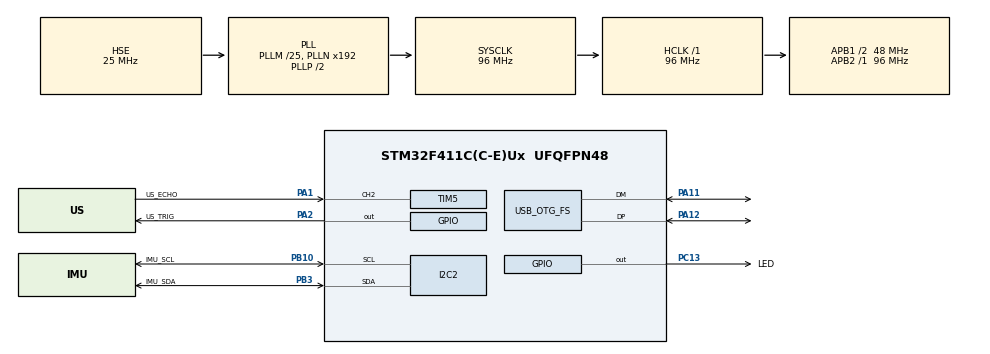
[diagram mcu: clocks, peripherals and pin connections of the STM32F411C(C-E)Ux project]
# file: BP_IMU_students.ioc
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Dma.Request0=TIM5_CH2
Dma.TIM5_CH2.0.Direction=DMA_PERIPH_TO_MEMORY
Dma.TIM5_CH2.0.FIFOMode=DMA_FIFOMODE_DISABLE
Dma.TIM5_CH2.0.Instance=DMA1_Stream4
Dma.TIM5_CH2.0.MemDataAlignment=DMA_MDATAALIGN_WORD
Dma.TIM5_CH2.0.MemInc=DMA_MINC_ENABLE
Dma.TIM5_CH2.0.Mode=DMA_NORMAL
Dma.TIM5_CH2.0.PeriphDataAlignment=DMA_PDATAALIGN_WORD
Dma.TIM5_CH2.0.PeriphInc=DMA_PINC_DISABLE
Dma.TIM5_CH2.0.Priority=DMA_PRIORITY_LOW
I2C2.I2C_Mode=I2C_Fast
Mcu.Family=STM32F4
Mcu.Name=STM32F411C(C-E)Ux
Mcu.Package=UFQFPN48
Mcu.UserConstants=PSC_5,96-1;ARR_1,500-1;PSC_11,96-1;PSC_4,1-1;ARR_11,1000-1;ARR_4,9600-1;PSC_1,96-1;PSC_2,96-1
NVIC.DMA1_Stream4_IRQn=true\:0\:0\:false\:false\:true\:false\:true\:true
NVIC.OTG_FS_IRQn=true\:0\:0\:false\:false\:true\:false\:true\:true
NVIC.PriorityGroup=NVIC_PRIORITYGROUP_4
NVIC.TIM1_TRG_COM_TIM11_IRQn=true\:0\:0\:false\:false\:true\:true\:true\:true
NVIC.TIM1_UP_TIM10_IRQn=true\:0\:0\:false\:false\:true\:true\:true\:true
NVIC.TIM5_IRQn=true\:0\:0\:false\:false\:true\:true\:true\:true
PA1.GPIO_Label=US_ECHO
PA1.Signal=S_TIM5_CH2
PA11.Mode=Device_Only
PA11.Signal=USB_OTG_FS_DM
PA12.Mode=Device_Only
PA12.Signal=USB_OTG_FS_DP
PA2.GPIO_Label=US_TRIG
PA2.Signal=GPIO_Output
PB10.GPIO_Label=IMU_SCL
PB10.Mode=I2C
PB10.Signal=I2C2_SCL
PB3.GPIO_Label=IMU_SDA
PB3.Mode=I2C
PB3.Signal=I2C2_SDA
PC13-ANTI_TAMP.GPIO_Label=LED
PC13-ANTI_TAMP.PinState=GPIO_PIN_SET
PC13-ANTI_TAMP.Signal=GPIO_Output
PH0\ -\ OSC_IN.Mode=HSE-External-Oscillator
PH0\ -\ OSC_IN.Signal=RCC_OSC_IN
PH1\ -\ OSC_OUT.Mode=HSE-External-Oscillator
PH1\ -\ OSC_OUT.Signal=RCC_OSC_OUT
ProjectManager.HeapSize=0x200
ProjectManager.StackSize=0x400
ProjectManager.TargetToolchain=STM32CubeIDE
RCC.48MHZClocksFreq_Value=48000000
RCC.AHBFreq_Value=96000000
RCC.APB1CLKDivider=RCC_HCLK_DIV2
RCC.APB1Freq_Value=48000000
RCC.APB1TimFreq_Value=96000000
RCC.APB2Freq_Value=96000000
RCC.APB2TimFreq_Value=96000000
RCC.CortexFreq_Value=96000000
RCC.HCLKFreq_Value=96000000
RCC.HSE_VALUE=25000000
RCC.HSI_VALUE=16000000
RCC.LSE_VALUE=32768
RCC.PLLM=25
RCC.SYSCLKFreq_VALUE=96000000
RCC.SYSCLKSource=RCC_SYSCLKSOURCE_PLLCLK
RCC.VCOOutputFreq_Value=192000000
SH.S_TIM5_CH2.0=TIM5_CH2,Input_Capture2_from_TI2
TIM1.Period=ARR_1
TIM1.Prescaler=PSC_1
TIM11.Period=ARR_11
TIM11.Prescaler=PSC_11
TIM2.Prescaler=PSC_2
TIM5.Channel-Input_Capture2_from_TI2=TIM_CHANNEL_2
TIM5.ICPolarity_CH2=TIM_INPUTCHANNELPOLARITY_BOTHEDGE
TIM5.Prescaler=PSC_5
USB_DEVICE.CLASS_NAME_FS=CDC
USB_DEVICE.VirtualMode=Cdc
USB_DEVICE.VirtualModeFS=Cdc_FS
USB_OTG_FS.VirtualMode=Device_Only
VP_TIM11_VS_ClockSourceINT.Mode=Enable_Timer
VP_TIM1_VS_ClockSourceINT.Mode=Internal
VP_TIM2_VS_ClockSourceINT.Mode=Internal
VP_TIM5_VS_ClockSourceINT.Mode=Internal
VP_USB_DEVICE_VS_USB_DEVICE_CDC_FS.Mode=CDC_FS
board=custom

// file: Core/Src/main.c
/* USER CODE BEGIN Header */
/**
  ******************************************************************************
  * @file           : main.c
  * @brief          : Main program body
  ******************************************************************************
  * @attention
  *
  * Copyright (c) 2025 STMicroelectronics.
  * All rights reserved.
  *
  * This software is licensed under terms that can be found in the LICENSE file
  * in the root directory of this software component.
  * If no LICENSE file comes with this software, it is provided AS-IS.
  *
  ******************************************************************************
  */
/* USER CODE END Header */
#include "main.h"
#include "dma.h"
#include "i2c.h"
#include "tim.h"
#include "usb_device.h"
#include "gpio.h"

/* USER CODE BEGIN Includes */
#include "usbd_cdc_if.h"
#include <string.h>
#include <stdio.h>

#include "ultrasonic_sensor.h"
#include "imu.h"
#include "mpu6050.h"
/* USER CODE END Includes */

/* USER CODE BEGIN PD */
#define USB_RX_BUFFER_SIZE 256
/* USER CODE END PD */

/* USER CODE BEGIN PV */
//Timer loop
volatile uint16_t cpt_led_loop = 0;
volatile uint8_t led_loop = 0;

volatile uint16_t cpt_print_loop = 0;
volatile uint8_t print_loop = 0;

volatile uint16_t cpt_us_loop = 0;
volatile uint8_t us_loop = 0;

volatile uint16_t cpt_imu_loop = 0;
volatile uint8_t imu_loop = 0;

//USB
uint32_t usb_rx_len = 0;	//Size of received packet over USB
uint8_t usb_rx_buffer[USB_RX_BUFFER_SIZE];	//Buffer to store the received packet over USB

//Ultrasonic sensor
extern uint8_t us_data_ready;
extern uint32_t us_dma_buffer[2];
extern float us_dist;
extern uint32_t us_pulse_width;

//IMU
extern imu_raw_data_t imu_raw;
extern imu_scaled_data_t imu_scaled;
extern imu_attitude_t drone_att;

/* USER CODE END PV */

void SystemClock_Config(void);
/* USER CODE BEGIN PFP */
void parse_usb_data();

/* USER CODE END PFP */

/* USER CODE BEGIN 0 */
int _write(int file, char *ptr, int len) {
    CDC_Transmit_FS((uint8_t*)ptr, len);
    return len;
}
/* USER CODE END 0 */

int main(void)
{

  /* MCU Configuration--------------------------------------------------------*/

  /* Reset of all peripherals, Initializes the Flash interface and the Systick. */
  HAL_Init();

  /* Configure the system clock */
  SystemClock_Config();

  /* Initialize all configured peripherals */
  MX_GPIO_Init();
  MX_DMA_Init();
  MX_USB_DEVICE_Init();
  MX_TIM11_Init();
  MX_TIM1_Init();
  MX_TIM5_Init();
  MX_TIM2_Init();
  MX_I2C2_Init();
  /* USER CODE BEGIN 2 */
  //Start Timers
  HAL_TIM_Base_Start_IT(&htim11);	//Start Timer with IT to call HAL_TIM_PeriodElapsedCallback function
  HAL_TIM_Base_Start(&htim2);	//Start Timer 2 to use the delay_us function

  //Make sure the US trigger pin is at LOW
  HAL_GPIO_WritePin(US_TRIG_GPIO_Port, US_TRIG_Pin, GPIO_PIN_RESET);

  //Start Input Capture for US
  HAL_TIM_IC_Start_DMA(&htim5, TIM_CHANNEL_2, us_dma_buffer, 2);

  //Initialize IMU
  HAL_StatusTypeDef imu_status = mpu6050_is_ready();
  uint8_t imu_who_am_i = mpu6050_read_who_am_i();
  printf("IMU status: %lu | WHO_AM_I: 0x%02X\r\n", (uint32_t)imu_status, imu_who_am_i);

  if(!imu_init()){
	  while(1){
		  // printf("MPU6050 addr not correct!\n");
      imu_status = mpu6050_is_ready();
		  imu_who_am_i = mpu6050_read_who_am_i();
		  printf("MPU6050 init failed | status: %lu | WHO_AM_I: 0x%02X\r\n", (uint32_t)imu_status, imu_who_am_i);
		  HAL_Delay(1000);
	  }
  }
  /* USER CODE END 2 */

  /* Infinite loop */
  /* USER CODE BEGIN WHILE */
  while (1)
  {
	  if(print_loop){
		  //printf("Propagation time: %lu us\n", us_pulse_width);
		  //printf("Dist: %.1f cm\n", us_dist);

		  // printf("Accel scaled: %.2f\t %.2f\t %.2f\t\n", imu_scaled.accel_x, imu_scaled.accel_y, imu_scaled.accel_z);
		  // printf("Gyro scaled: %.2f\t %.2f\t %.2f\t\n", imu_scaled.gyro_x, imu_scaled.gyro_y, imu_scaled.gyro_z);
      // printf("ACC: %.3f \t %.3f \t %.3f g \t | \t GYRO: %.3f \t %.3f \t %.3f dps \r\n",
      //   imu_scaled.accel_x, imu_scaled.accel_y, imu_scaled.accel_z,
      //   imu_scaled.gyro_x, imu_scaled.gyro_y, imu_scaled.gyro_z
      // );

      printf("ROLL: %.2f \t PITCH: %.2f \t ACC_ROLL: %.2f \t ACC_PITCH: %.2f \t GYRO_ROLL: %.2f \t GYRO_PITCH: %.2f \t RATE_ROLL: %.2f \t RATE_PITCH: %.2f \r\n",
        drone_att.roll, drone_att.pitch,
        drone_att.acc_roll, drone_att.acc_pitch,
        drone_att.gyro_roll, drone_att.gyro_pitch,
        drone_att.roll_rate, drone_att.pitch_rate);
      //printf("Attitude: %.2f\t %.2f\t %.2f\t %.2f\t %.2f\t %.2f\n", drone_att.roll, drone_att.pitch, drone_att.yaw, drone_att.roll_rate, drone_att.pitch_rate, drone_att.yaw_rate);
		  print_loop = 0;
	  }

	  if(led_loop){
		  HAL_GPIO_TogglePin(LED_GPIO_Port, LED_Pin);
		  led_loop = 0;
	  }

	  if(us_loop){
		  us_enable_trigger();
		  us_loop = 0;
	  }

	  if(us_data_ready){
		  us_compute_distance();
		  HAL_TIM_IC_Start_DMA(&htim5, TIM_CHANNEL_2, us_dma_buffer, 2);	//Restart input-capture
		  us_data_ready = 0;
	  }

	  if(imu_loop){
		  //read scaled imu data
		  imu_read_scaled_data(&imu_scaled);

		  //update drone's attitude
		  imu_update_attitude(&drone_att, imu_scaled);
		  imu_loop = 0;
	  }
    /* USER CODE END WHILE */

  }
}

void SystemClock_Config(void)
{
  RCC_OscInitTypeDef RCC_OscInitStruct = {0};
  RCC_ClkInitTypeDef RCC_ClkInitStruct = {0};

  /** Configure the main internal regulator output voltage
  */
  __HAL_RCC_PWR_CLK_ENABLE();
  __HAL_PWR_VOLTAGESCALING_CONFIG(PWR_REGULATOR_VOLTAGE_SCALE1);

  /** Initializes the RCC Oscillators according to the specified parameters
  * in the RCC_OscInitTypeDef structure.
  */
  RCC_OscInitStruct.OscillatorType = RCC_OSCILLATORTYPE_HSE;
  RCC_OscInitStruct.HSEState = RCC_HSE_ON;
  RCC_OscInitStruct.PLL.PLLState = RCC_PLL_ON;
  RCC_OscInitStruct.PLL.PLLSource = RCC_PLLSOURCE_HSE;
  RCC_OscInitStruct.PLL.PLLM = 25;
  RCC_OscInitStruct.PLL.PLLN = 192;
  RCC_OscInitStruct.PLL.PLLP = RCC_PLLP_DIV2;
  RCC_OscInitStruct.PLL.PLLQ = 4;
  if (HAL_RCC_OscConfig(&RCC_OscInitStruct) != HAL_OK)
  {
    Error_Handler();
  }

  /** Initializes the CPU, AHB and APB buses clocks
  */
  RCC_ClkInitStruct.ClockType = RCC_CLOCKTYPE_HCLK|RCC_CLOCKTYPE_SYSCLK
                              |RCC_CLOCKTYPE_PCLK1|RCC_CLOCKTYPE_PCLK2;
  RCC_ClkInitStruct.SYSCLKSource = RCC_SYSCLKSOURCE_PLLCLK;
  RCC_ClkInitStruct.AHBCLKDivider = RCC_SYSCLK_DIV1;
  RCC_ClkInitStruct.APB1CLKDivider = RCC_HCLK_DIV2;
  RCC_ClkInitStruct.APB2CLKDivider = RCC_HCLK_DIV1;

  if (HAL_RCC_ClockConfig(&RCC_ClkInitStruct, FLASH_LATENCY_3) != HAL_OK)
  {
    Error_Handler();
  }
}

/* USER CODE BEGIN 4 */
/**
 * @brief This function is called automatically when a Timer overflows (period elapsed)
 * @param htim: Pointer to the Timer handler that identifies which Timer triggered the callback
 */
void HAL_TIM_PeriodElapsedCallback(TIM_HandleTypeDef *htim){
	if(htim->Instance == TIM11){	//If Timer 11 triggered the interrupt (@1kHz)
		cpt_led_loop++;
		cpt_print_loop++;
		cpt_us_loop++;
		cpt_imu_loop++;

		if(cpt_led_loop >= 500){	//LED blink @2Hz
			led_loop = 1;
			cpt_led_loop = 0;
		}

		if(cpt_print_loop >= 100){	//Print loop @10Hz
			print_loop = 1;
			cpt_print_loop = 0;
		}

		if(cpt_us_loop >= 50){	//US loop @20Hz
			us_loop = 1;
			cpt_us_loop = 0;
		}

		if(cpt_imu_loop >= 1){	//IMU loop @1kHz
			imu_loop = 1;
			cpt_imu_loop = 0;
		}
	}
}

/**
 * @brief This function is automatically called when the DMA finishes to store both rising and falling for TIM5_CH2 in input capture mode
 * @note Make sure to set the polarity selection (On CubeMX) to "Both Edges" and enable DMA in Normal mode
 * @param htim: Pointer to the Timer handler that identifies which Timer triggered the callback
 *
 */
void HAL_TIM_IC_CaptureCallback(TIM_HandleTypeDef *htim){
	if(htim->Instance == TIM5){
		if(htim->Channel == HAL_TIM_ACTIVE_CHANNEL_2)	//If TIM5_CH2 triggered this callback function
			us_data_ready = 1;
	}
}

/**
 * @brief This function stops the program for a specific number of microseconds
 * @param us_duration: Number of microseconds the program should be blocked
 */
void delay_us(uint32_t us_duration){
	__HAL_TIM_SET_COUNTER(&htim2, 0);	//reset the counter of TIM2
	uint32_t start = __HAL_TIM_GET_COUNTER(&htim2);
	while((__HAL_TIM_GET_COUNTER(&htim2) - start) < us_duration);
}
/* USER CODE END 4 */

void Error_Handler(void)
{
  __disable_irq();
  while (1)
  {
  }
}
